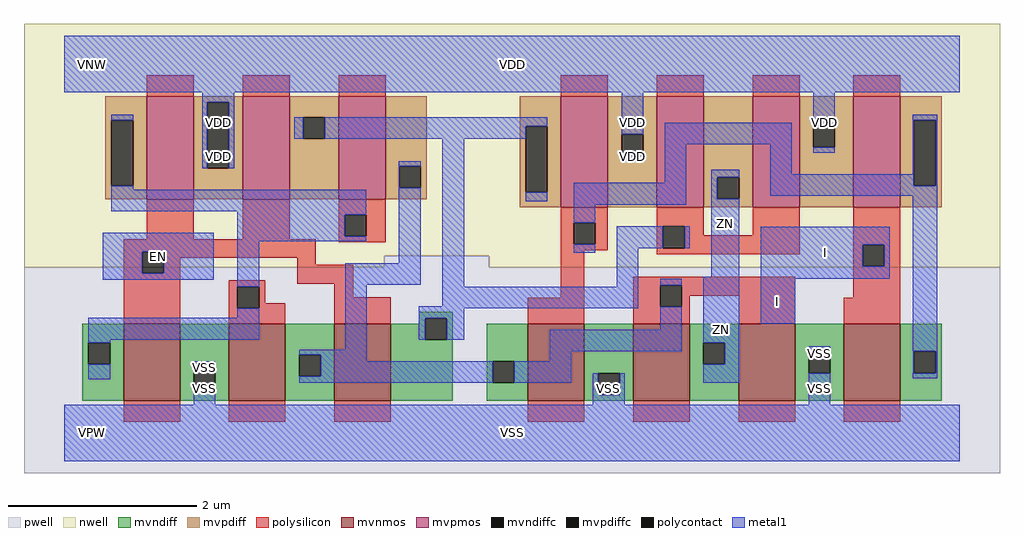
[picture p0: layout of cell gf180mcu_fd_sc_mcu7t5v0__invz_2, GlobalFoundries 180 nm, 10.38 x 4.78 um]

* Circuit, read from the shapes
.subckt gf180mcu_fd_sc_mcu7t5v0__invz_2 EN I ZN VDD VNW VPW VSS
XM1 VSS EN n1 VPW nfet_06v0 w=0.82u l=0.6u
XM2 n2 n1 VSS VPW nfet_06v0 w=0.82u l=0.6u
XM3 n3 EN n2 VPW nfet_06v0 w=0.82u l=0.6u
XM4 VSS n4 n2 VPW nfet_06v0 w=0.82u l=0.6u
XM5 ZN n2 VSS VPW nfet_06v0 w=0.82u l=0.6u m=2
XM6 n4 I VSS VPW nfet_06v0 w=0.82u l=0.6u
XM7 VDD EN n1 VNW pfet_06v0 w=1.095u l=0.5u
XM8 n3 EN VDD VNW pfet_06v0 w=1.095u l=0.5u
XM9 n2 n1 n3 VNW pfet_06v0 w=1.095u l=0.5u
XM10 VDD n4 n3 VNW pfet_06v0 w=1.18u l=0.5u
XM11 ZN n3 VDD VNW pfet_06v0 w=1.18u l=0.5u m=2
XM12 n4 I VDD VNW pfet_06v0 w=1.18u l=0.5u
.ends

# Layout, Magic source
magic
tech gf180mcuD
magscale 1 10
<< nwell >>
rect -86 377 1990 870
rect -86 352 680 377
rect 904 352 1990 377
<< pwell >>
rect 680 352 904 377
rect -86 -86 1990 352
<< mvnmos >>
rect 126 68 246 232
rect 350 68 470 232
rect 574 68 694 232
rect 986 68 1106 232
rect 1210 68 1330 232
rect 1434 68 1554 232
rect 1658 68 1778 232
<< mvpmos >>
rect 175 497 275 716
rect 379 497 479 716
rect 583 497 683 716
rect 1056 480 1156 716
rect 1260 480 1360 716
rect 1464 480 1564 716
rect 1678 480 1778 716
<< mvndiff >>
rect 754 244 826 257
rect 754 232 767 244
rect 38 192 126 232
rect 38 146 51 192
rect 97 146 126 192
rect 38 68 126 146
rect 246 139 350 232
rect 246 93 275 139
rect 321 93 350 139
rect 246 68 350 93
rect 470 166 574 232
rect 470 120 499 166
rect 545 120 574 166
rect 470 68 574 120
rect 694 198 767 232
rect 813 198 826 244
rect 694 68 826 198
rect 898 152 986 232
rect 898 106 911 152
rect 957 106 986 152
rect 898 68 986 106
rect 1106 127 1210 232
rect 1106 81 1135 127
rect 1181 81 1210 127
rect 1106 68 1210 81
rect 1330 192 1434 232
rect 1330 146 1359 192
rect 1405 146 1434 192
rect 1330 68 1434 146
rect 1554 173 1658 232
rect 1554 127 1583 173
rect 1629 127 1658 173
rect 1554 68 1658 127
rect 1778 173 1866 232
rect 1778 127 1807 173
rect 1853 127 1866 173
rect 1778 68 1866 127
<< mvpdiff >>
rect 87 665 175 716
rect 87 525 100 665
rect 146 525 175 665
rect 87 497 175 525
rect 275 703 379 716
rect 275 563 304 703
rect 350 563 379 703
rect 275 497 379 563
rect 479 671 583 716
rect 479 625 508 671
rect 554 625 583 671
rect 479 497 583 625
rect 683 567 771 716
rect 683 521 712 567
rect 758 521 771 567
rect 683 497 771 521
rect 968 652 1056 716
rect 968 512 981 652
rect 1027 512 1056 652
rect 968 480 1056 512
rect 1156 635 1260 716
rect 1156 589 1185 635
rect 1231 589 1260 635
rect 1156 480 1260 589
rect 1360 544 1464 716
rect 1360 498 1389 544
rect 1435 498 1464 544
rect 1360 480 1464 498
rect 1564 653 1678 716
rect 1564 607 1593 653
rect 1639 607 1678 653
rect 1564 480 1678 607
rect 1778 665 1866 716
rect 1778 525 1807 665
rect 1853 525 1866 665
rect 1778 480 1866 525
<< mvndiffc >>
rect 51 146 97 192
rect 275 93 321 139
rect 499 120 545 166
rect 767 198 813 244
rect 911 106 957 152
rect 1135 81 1181 127
rect 1359 146 1405 192
rect 1583 127 1629 173
rect 1807 127 1853 173
<< mvpdiffc >>
rect 100 525 146 665
rect 304 563 350 703
rect 508 625 554 671
rect 712 521 758 567
rect 981 512 1027 652
rect 1185 589 1231 635
rect 1389 498 1435 544
rect 1593 607 1639 653
rect 1807 525 1853 665
<< polysilicon >>
rect 175 716 275 760
rect 379 716 479 760
rect 583 716 683 760
rect 1056 716 1156 760
rect 1260 716 1360 760
rect 1464 716 1564 760
rect 1678 716 1778 760
rect 175 412 275 497
rect 379 412 479 497
rect 583 464 683 497
rect 583 418 596 464
rect 642 418 683 464
rect 126 385 535 412
rect 583 405 683 418
rect 1056 447 1156 480
rect 126 339 165 385
rect 211 372 535 385
rect 211 339 246 372
rect 126 232 246 339
rect 495 357 535 372
rect 1056 401 1083 447
rect 1129 401 1156 447
rect 1056 388 1156 401
rect 1260 439 1360 480
rect 1260 393 1273 439
rect 1319 420 1360 439
rect 1464 420 1564 480
rect 1319 393 1564 420
rect 350 311 427 324
rect 495 317 614 357
rect 350 265 368 311
rect 414 276 427 311
rect 574 288 614 317
rect 414 265 470 276
rect 350 232 470 265
rect 574 232 694 288
rect 1056 287 1106 388
rect 1260 380 1564 393
rect 1678 400 1778 480
rect 1678 354 1698 400
rect 1744 354 1778 400
rect 986 232 1106 287
rect 1210 314 1554 332
rect 1210 268 1267 314
rect 1313 292 1554 314
rect 1313 268 1330 292
rect 1210 232 1330 268
rect 1434 232 1554 292
rect 1678 287 1778 354
rect 1658 232 1778 287
rect 126 24 246 68
rect 350 24 470 68
rect 574 24 694 68
rect 986 24 1106 68
rect 1210 24 1330 68
rect 1434 24 1554 68
rect 1658 24 1778 68
<< polycontact >>
rect 596 418 642 464
rect 165 339 211 385
rect 1083 401 1129 447
rect 1273 393 1319 439
rect 368 265 414 311
rect 1698 354 1744 400
rect 1267 268 1313 314
<< metal1 >>
rect 0 724 1904 844
rect 293 703 361 724
rect 100 665 146 676
rect 293 563 304 703
rect 350 563 361 703
rect 489 625 508 671
rect 554 652 1027 671
rect 554 625 981 652
rect 711 567 758 578
rect 100 517 146 525
rect 711 521 712 567
rect 100 471 642 517
rect 368 464 642 471
rect 82 385 318 425
rect 82 339 165 385
rect 211 339 318 385
rect 82 325 318 339
rect 368 418 596 464
rect 368 407 642 418
rect 368 311 414 407
rect 711 361 758 521
rect 368 245 414 265
rect 51 198 414 245
rect 597 315 758 361
rect 51 192 97 198
rect 597 177 643 315
rect 804 311 850 625
rect 1185 635 1231 724
rect 1185 578 1231 589
rect 1277 614 1547 660
rect 1277 532 1323 614
rect 981 493 1027 512
rect 1083 485 1323 532
rect 1376 544 1435 560
rect 1376 498 1389 544
rect 1501 550 1547 614
rect 1593 653 1639 724
rect 1593 596 1639 607
rect 1804 665 1857 676
rect 1804 550 1807 665
rect 1501 525 1807 550
rect 1853 525 1857 665
rect 1501 504 1857 525
rect 1083 447 1129 485
rect 1083 383 1129 401
rect 1175 393 1273 439
rect 1319 393 1330 439
rect 1175 311 1221 393
rect 1376 332 1435 498
rect 804 269 1221 311
rect 754 265 1221 269
rect 1267 314 1313 328
rect 754 244 850 265
rect 754 198 767 244
rect 813 198 850 244
rect 1267 219 1313 268
rect 499 166 643 177
rect 51 114 97 146
rect 275 139 321 152
rect 545 152 643 166
rect 1032 173 1313 219
rect 1359 192 1435 332
rect 1481 400 1755 438
rect 1481 354 1698 400
rect 1744 354 1755 400
rect 1481 328 1755 354
rect 1481 232 1554 328
rect 1032 152 1078 173
rect 545 120 911 152
rect 499 106 911 120
rect 957 106 1078 152
rect 1405 146 1435 192
rect 275 60 321 93
rect 1124 81 1135 127
rect 1181 81 1192 127
rect 1359 106 1435 146
rect 1583 173 1629 184
rect 1124 60 1192 81
rect 1583 60 1629 127
rect 1804 173 1857 504
rect 1804 127 1807 173
rect 1853 127 1857 173
rect 1804 116 1857 127
rect 0 -60 1904 60
<< labels >>
flabel metal1 s 0 724 1904 844 0 FreeSans 400 0 0 0 VDD
port 4 nsew power bidirectional abutment
flabel metal1 s 1583 152 1629 184 0 FreeSans 400 0 0 0 VSS
port 7 nsew ground bidirectional abutment
flabel metal1 s 1376 332 1435 560 0 FreeSans 400 0 0 0 ZN
port 3 nsew default output
flabel metal1 s 82 325 318 425 0 FreeSans 400 0 0 0 EN
port 1 nsew default input
flabel metal1 s 1481 328 1755 438 0 FreeSans 400 0 0 0 I
port 2 nsew default input
flabel nwell s 10 734 110 834 0 FreeSans 400 0 0 0 VNW
port 5 nsew power bidirectional
flabel pwell s 10 -50 110 50 0 FreeSans 400 0 0 0 VPW
port 6 nsew ground bidirectional
rlabel metal1 s 1481 232 1554 328 1 I
port 2 nsew default input
rlabel metal1 s 1359 106 1435 332 1 ZN
port 3 nsew default output
rlabel metal1 s 1593 596 1639 724 1 VDD
port 4 nsew power bidirectional abutment
rlabel metal1 s 1185 596 1231 724 1 VDD
port 4 nsew power bidirectional abutment
rlabel metal1 s 293 596 361 724 1 VDD
port 4 nsew power bidirectional abutment
rlabel metal1 s 1185 578 1231 596 1 VDD
port 4 nsew power bidirectional abutment
rlabel metal1 s 293 578 361 596 1 VDD
port 4 nsew power bidirectional abutment
rlabel metal1 s 293 563 361 578 1 VDD
port 4 nsew power bidirectional abutment
rlabel metal1 s 1583 127 1629 152 1 VSS
port 7 nsew ground bidirectional abutment
rlabel metal1 s 275 127 321 152 1 VSS
port 7 nsew ground bidirectional abutment
rlabel metal1 s 1583 60 1629 127 1 VSS
port 7 nsew ground bidirectional abutment
rlabel metal1 s 1124 60 1192 127 1 VSS
port 7 nsew ground bidirectional abutment
rlabel metal1 s 275 60 321 127 1 VSS
port 7 nsew ground bidirectional abutment
rlabel metal1 s 0 -60 1904 60 1 VSS
port 7 nsew ground bidirectional abutment
<< properties >>
string FIXED_BBOX 0 0 1904 784
string GDS_END 527620
string GDS_FILE $PDKPATH/libs.ref/gf180mcu_fd_sc_mcu7t5v0/gds/gf180mcu_fd_sc_mcu7t5v0.gds
string GDS_START 522194
string LEFclass core
string LEFsite GF018hv5v_mcu_sc7
string LEFsymmetry X Y
<< end >>
